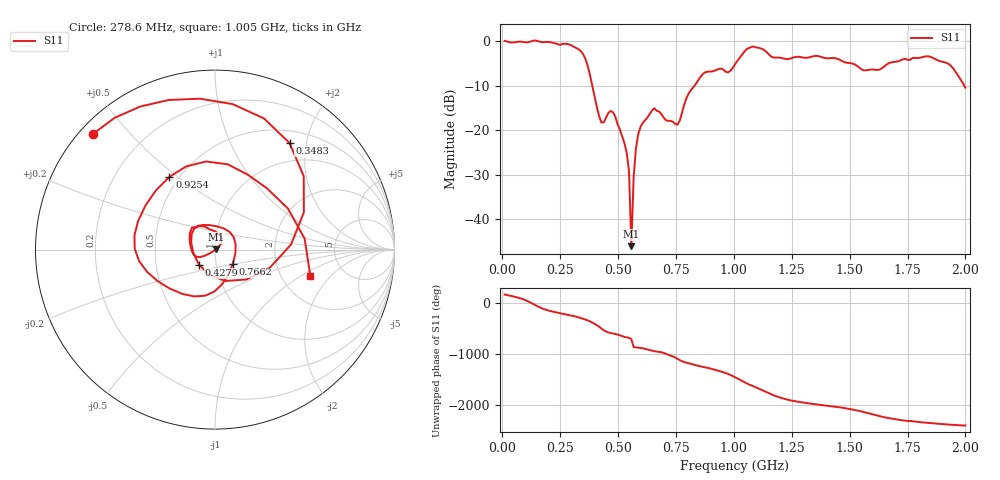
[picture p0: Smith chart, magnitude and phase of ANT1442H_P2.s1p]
!Created with skrf (http://scikit-rf.org).
# Hz S RI R 50.0
!freq ReS11 ImS11
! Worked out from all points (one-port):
!   201 points, 10 MHz to 2 GHz, reference 50 ohm
!   lowest |S11| = -46.1 dB at 557.2 MHz (marker M1), VSWR 1.01, Z = 50.5 + j0.116 ohm
!   |S11| at or under -10 dB: 388.8 MHz to 829.6 MHz (440.8 MHz wide, 72.4 % of centre); 1.995586 GHz to end of sweep
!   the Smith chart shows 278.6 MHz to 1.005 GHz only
!   S11 on the Smith chart (normalised r, x): 278.6 MHz: 0.04, +0.40; 348.3 MHz: 0.68, +1.71; 427.9 MHz: 0.83, -0.14; 766.2 MHz: 1.20, -0.20; 925.4 MHz: 0.44, +0.47; 1.005 GHz: 2.89, -1.21
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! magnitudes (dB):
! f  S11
! 10 MHz  0.1
! 258.8 MHz  -0.6
! 278.6 MHz  -0.6
! 348.3 MHz  -2.8
! 427.9 MHz  -18.2
! 467.7 MHz  -15.7
! 507.5 MHz  -19.8
! 537.4 MHz  -25.1
! 547.3 MHz  -29.2
! 557.2 MHz  -46.1
! 567.2 MHz  -30.6
! 577.1 MHz  -24.1
! 597 MHz  -19.2
! 656.8 MHz  -15.0
! 756.2 MHz  -18.8
! 766.2 MHz  -17.9
! 796 MHz  -12.7
! 855.8 MHz  -8.0
! 925.4 MHz  -6.4
! 975.1 MHz  -7.0
! 1.005 GHz  -5.2
! 1.085 GHz  -1.1
! 1.254 GHz  -3.7
! 1.502 GHz  -4.9
! 1.622 GHz  -6.4
! 1.751 GHz  -4.2
! 1.92 GHz  -4.9
! 2 GHz  -10.4
